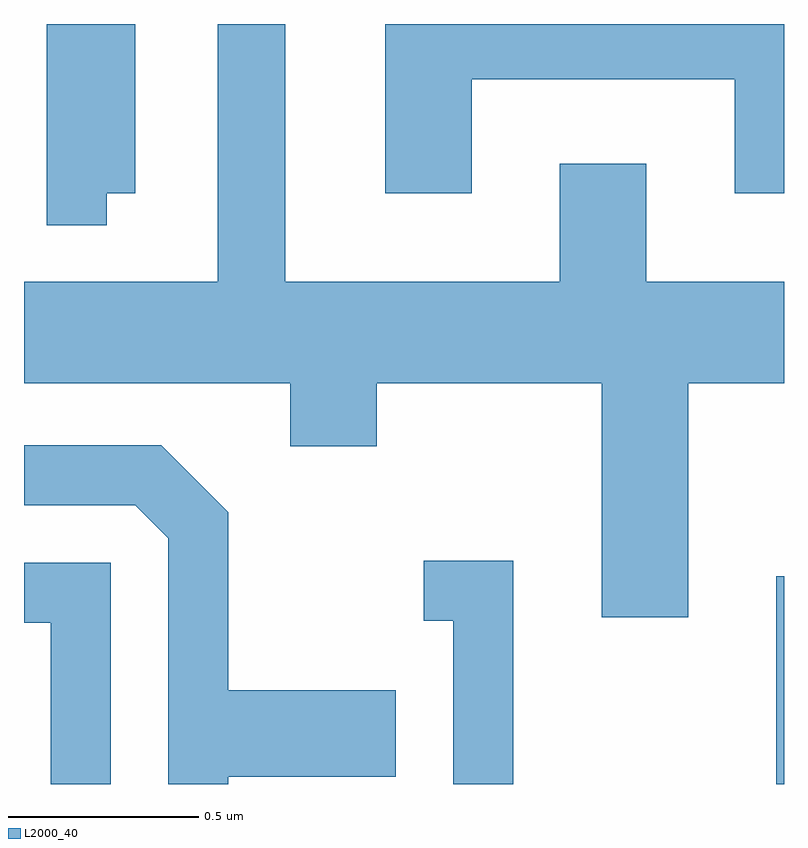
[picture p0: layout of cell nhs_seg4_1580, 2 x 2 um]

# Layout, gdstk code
import gdstk
lib = gdstk.Library(unit=1e-6, precision=1e-09)
def R(c, l, rs):  # rectangles x0, y0, x1, y1
    for r in rs: c.add(gdstk.rectangle(r[:2], r[2:], *l))
def P(c, l, *ps):  # polygons
    for p in ps: c.add(gdstk.Polygon(p, *l))
L2000_40 = (2000, 40)

nhs_seg4_1580 = lib.new_cell('nhs_seg4_1580')
R(nhs_seg4_1580, L2000_40, [(198.591,1326.982,198.611,1327.529)])
P(nhs_seg4_1580, L2000_40, [(198.359,1328.036),(198.611,1328.036),(198.611,1328.304),(198.249,1328.304),(198.249,1328.614),(198.021,1328.614),(198.021,1328.304),(197.299,1328.304),(197.299,1328.982),(197.121,1328.982),(197.121,1328.304),(196.611,1328.304),(196.611,1328.036),(197.311,1328.036),(197.311,1327.871),(197.539,1327.871),(197.539,1328.036),(198.131,1328.036),(198.131,1327.421),(198.359,1327.421)],
  [(196.829,1328.536),(196.904,1328.536),(196.904,1328.982),(196.671,1328.982),(196.671,1328.453),(196.829,1328.453)],
  [(197.789,1328.836),(198.481,1328.836),(198.481,1328.536),(198.611,1328.536),(198.611,1328.982),(197.561,1328.982),(197.561,1328.536),(197.789,1328.536)],
  [(197.149,1327.001),(197.589,1327.001),(197.589,1327.229),(197.149,1327.229),(197.149,1327.697),(196.972,1327.874),(196.611,1327.874),(196.611,1327.716),(196.904,1327.716),(196.991,1327.629),(196.991,1326.982),(197.149,1326.982)],
  [(197.899,1327.569),(197.663,1327.569),(197.663,1327.411),(197.741,1327.411),(197.741,1326.982),(197.899,1326.982)],
  [(196.839,1327.564),(196.611,1327.564),(196.611,1327.406),(196.681,1327.406),(196.681,1326.982),(196.839,1326.982)])

lib.write_gds('nhs_seg4_1580.gds')
